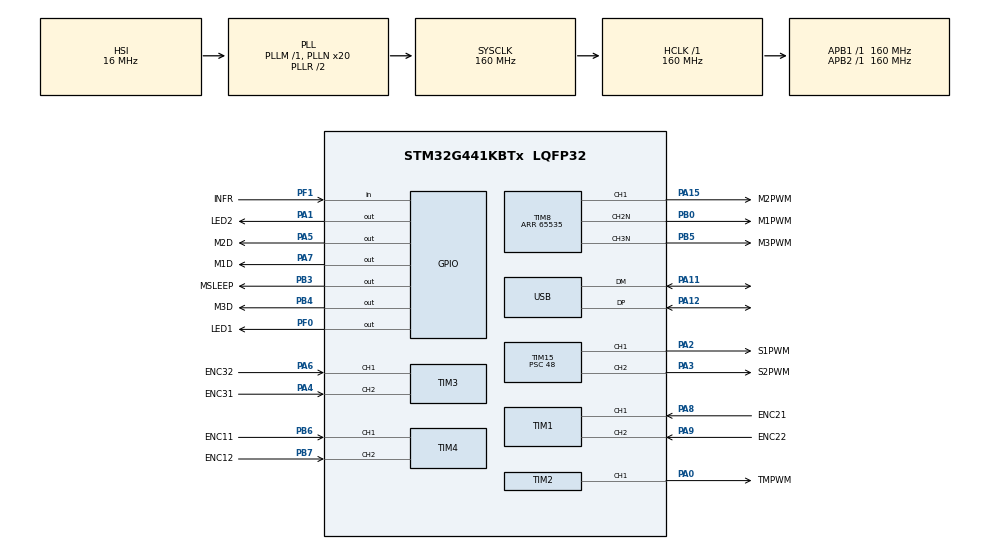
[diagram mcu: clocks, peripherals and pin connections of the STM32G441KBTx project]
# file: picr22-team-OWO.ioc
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Mcu.Family=STM32G4
Mcu.Name=STM32G441KBTx
Mcu.Package=LQFP32
NVIC.PriorityGroup=NVIC_PRIORITYGROUP_4
NVIC.TIM6_DAC_IRQn=true\:0\:0\:false\:false\:true\:true\:true\:true
NVIC.USB_LP_IRQn=true\:0\:0\:false\:false\:true\:false\:true\:true
PA0.GPIO_Label=TMPWM
PA0.Signal=S_TIM2_CH1
PA1.GPIO_Label=LED2
PA1.Signal=GPIO_Output
PA11.Mode=Device
PA11.Signal=USB_DM
PA12.Mode=Device
PA12.Signal=USB_DP
PA13.Mode=Serial_Wire
PA13.Signal=SYS_JTMS-SWDIO
PA14.Mode=Serial_Wire
PA14.Signal=SYS_JTCK-SWCLK
PA15.GPIO_Label=M2PWM
PA15.Signal=S_TIM8_CH1
PA2.GPIO_Label=S1PWM
PA2.Signal=S_TIM15_CH1
PA3.GPIO_Label=S2PWM
PA3.Signal=S_TIM15_CH2
PA4.GPIO_Label=ENC31
PA4.Signal=S_TIM3_CH2
PA5.GPIO_Label=M2D
PA5.Signal=GPIO_Output
PA6.GPIO_Label=ENC32
PA6.Signal=S_TIM3_CH1
PA7.GPIO_Label=M1D
PA7.Signal=GPIO_Output
PA8.GPIO_Label=ENC21
PA8.Signal=S_TIM1_CH1
PA9.GPIO_Label=ENC22
PA9.Signal=S_TIM1_CH2
PB0.GPIO_Label=M1PWM
PB0.Mode=PWM Generation2 CH2N
PB0.Signal=TIM8_CH2N
PB3.GPIO_Label=MSLEEP
PB3.Signal=GPIO_Output
PB4.GPIO_Label=M3D
PB4.Signal=GPIO_Output
PB5.GPIO_Label=M3PWM
PB5.Mode=PWM Generation3 CH3N
PB5.Signal=TIM8_CH3N
PB6.GPIO_Label=ENC11
PB6.Signal=S_TIM4_CH1
PB7.GPIO_Label=ENC12
PB7.Signal=S_TIM4_CH2
PF0-OSC_IN.GPIO_Label=LED1
PF0-OSC_IN.Signal=GPIO_Output
PF1-OSC_OUT.GPIO_Label=INFR
PF1-OSC_OUT.Signal=GPIO_Input
ProjectManager.HeapSize=0x200
ProjectManager.StackSize=0x400
ProjectManager.TargetToolchain=STM32CubeIDE
RCC.ADC12Freq_Value=160000000
RCC.AHBFreq_Value=160000000
RCC.APB1Freq_Value=160000000
RCC.APB1TimFreq_Value=160000000
RCC.APB2Freq_Value=160000000
RCC.APB2TimFreq_Value=160000000
RCC.CK48CLockSelection=RCC_USBCLKSOURCE_HSI48
RCC.CortexFreq_Value=160000000
RCC.EXTERNAL_CLOCK_VALUE=12288000
RCC.HCLKFreq_Value=160000000
RCC.HSE_VALUE=8000000
RCC.HSI48_VALUE=48000000
RCC.HSI_VALUE=16000000
RCC.LSE_VALUE=32768
RCC.PLLN=20
RCC.SYSCLKFreq_VALUE=160000000
RCC.SYSCLKSource=RCC_SYSCLKSOURCE_PLLCLK
RCC.USBFreq_Value=48000000
RCC.VCOOutputFreq_Value=320000000
SH.S_TIM15_CH1.0=TIM15_CH1,PWM Generation1 CH1
SH.S_TIM15_CH2.0=TIM15_CH2,PWM Generation2 CH2
SH.S_TIM1_CH1.0=TIM1_CH1,Encoder_Interface
SH.S_TIM1_CH2.0=TIM1_CH2,Encoder_Interface
SH.S_TIM2_CH1.0=TIM2_CH1,PWM Generation1 CH1
SH.S_TIM3_CH1.0=TIM3_CH1,Encoder_Interface
SH.S_TIM3_CH2.0=TIM3_CH2,Encoder_Interface
SH.S_TIM4_CH1.0=TIM4_CH1,Encoder_Interface
SH.S_TIM4_CH2.0=TIM4_CH2,Encoder_Interface
SH.S_TIM8_CH1.0=TIM8_CH1,PWM Generation1 CH1
TIM1.EncoderMode=TIM_ENCODERMODE_TI12
TIM15.Channel-PWM\ Generation1\ CH1=TIM_CHANNEL_1
TIM15.Channel-PWM\ Generation2\ CH2=TIM_CHANNEL_2
TIM15.Prescaler=48
TIM2.Channel-PWM\ Generation1\ CH1=TIM_CHANNEL_1
TIM2.OCMode_PWM-PWM\ Generation1\ CH1=TIM_OCMODE_PWM1
TIM2.PeriodNoDither=65535 
TIM2.Prescaler=48
TIM3.CounterMode=TIM_COUNTERMODE_UP
TIM3.EncoderMode=TIM_ENCODERMODE_TI12
TIM4.CounterMode=TIM_COUNTERMODE_UP
TIM4.EncoderMode=TIM_ENCODERMODE_TI12
TIM4.IC1Polarity=TIM_ICPOLARITY_RISING
TIM4.IC2Polarity=TIM_ICPOLARITY_RISING
TIM6.Prescaler=47
TIM8.Channel-PWM\ Generation1\ CH1=TIM_CHANNEL_1
TIM8.Channel-PWM\ Generation2\ CH2N=TIM_CHANNEL_2
TIM8.Channel-PWM\ Generation3\ CH3N=TIM_CHANNEL_3
TIM8.PeriodNoDither=65535
USB_DEVICE.CLASS_NAME_FS=CDC
USB_DEVICE.VirtualMode=Cdc
USB_DEVICE.VirtualModeFS=Cdc_FS
VP_TIM6_VS_ClockSourceINT.Mode=Enable_Timer
VP_USB_DEVICE_VS_USB_DEVICE_CDC_FS.Mode=CDC_FS
board=custom

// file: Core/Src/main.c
/* USER CODE BEGIN Header */
/**
  ******************************************************************************
  * @file           : main.c
  * @brief          : Main program body
  ******************************************************************************
  * @attention
  *
  * Copyright (c) 2022 STMicroelectronics.
  * All rights reserved.
  *
  * This software is licensed under terms that can be found in the LICENSE file
  * in the root directory of this software component.
  * If no LICENSE file comes with this software, it is provided AS-IS.
  *
  ******************************************************************************
  */
/* USER CODE END Header */
#include "main.h"
#include "usb_device.h"

/* USER CODE BEGIN Includes */
#include "usbd_cdc_if.h" // (1)
/* USER CODE END Includes */

TIM_HandleTypeDef htim1;
TIM_HandleTypeDef htim2;
TIM_HandleTypeDef htim3;
TIM_HandleTypeDef htim4;
TIM_HandleTypeDef htim6;
TIM_HandleTypeDef htim8;
TIM_HandleTypeDef htim15;

void SystemClock_Config(void);
static void MX_GPIO_Init(void);
static void MX_TIM2_Init(void);
static void MX_TIM3_Init(void);
static void MX_TIM1_Init(void);
static void MX_TIM4_Init(void);
static void MX_TIM8_Init(void);
static void MX_TIM15_Init(void);
static void MX_TIM6_Init(void);

/* USER CODE BEGIN 0 */
typedef struct Motor_Status {
	uint16_t target_speed; // in encoder units
	uint8_t direction; // 1 = forward, 0 = backward
	int16_t enc_pos; // current encoder position
	int16_t enc_change; // Change of the encoder, currently used for debugging purposes
	int16_t integral; // PID stuff borrowed from kurgimopeed
	int16_t flat_const;
	int16_t int_const;
	int16_t der_const;
	int16_t error;
} Motor_Status;

typedef struct Command {
  int16_t speed[3]; // array of all of the motor speeds, CURRENTLY int16_t DUE TO TESTING WITH RAW MOTOR VALUES, MOVE BACK TO int8_t
  uint16_t thrower_speed; // thrower motor speed
  uint16_t servo1;
  uint16_t servo2;
  int16_t int_const;
  int16_t flat_const;
  int16_t der_const;
  uint16_t delimiter;
} Command;

typedef struct Feedback {
  int16_t speed[3];
  int16_t change[3];
  int16_t error[3];
  int16_t integral[3];
  uint16_t ball_detected;
} Feedback;

// Motor structs for all 3 motors
Motor_Status motor_status[3] = {0};

// Prefilled command struct
Command command = {.speed[0] = 0,
				   .speed[1] = 0,
				   .speed[2] = 0,
				   .thrower_speed = 3277,
				   .servo1 = 4875,
				   .servo2 = 6150,
				   .flat_const = 1,
				   .int_const = 0.1,
				   .delimiter = 0};

volatile uint8_t isCommandReceived = 0;
volatile uint16_t commandless_count = 0;

uint16_t clamp_u16(uint16_t value, uint16_t min, uint16_t max) {
	if (value > max) {return max;}
	else if (value < min) {return min;}
	return value;
}

int16_t clamp_16(int16_t value, int16_t min, int16_t max) {
	if (value > max) {return max;}
	else if (value < min) {return min;}
	return value;
}

int32_t clamp_32(int32_t value, int32_t min, int32_t max) {
	if (value > max) {return max;}
	else if (value < min) {return min;}
	return value;
}

// Copies the recieved command into the command struct
void CDC_On_Receive(uint8_t* buffer, uint32_t* length) { // command recieve callback, copies data to command struct
  if (*length == sizeof(Command)) {
    memcpy(&command, buffer, sizeof(Command));
    if (command.delimiter == 0xAAAA) {
      isCommandReceived = 1;
      commandless_count = 0;
    }
  }
}

// Initialises the encoders
void enc_init() {
	HAL_TIM_Encoder_Start(&htim4, TIM_CHANNEL_1 | TIM_CHANNEL_2); // Motor 1 ?
	HAL_TIM_Encoder_Start(&htim1, TIM_CHANNEL_1 | TIM_CHANNEL_2); // Motor 2
	HAL_TIM_Encoder_Start(&htim3, TIM_CHANNEL_1 | TIM_CHANNEL_2); // Motor 3 ?
}

// Initialises the PWMs
void pwm_init() {
	TIM8->CCR2 = 0;
	TIM8->CCR1 = 0;
	TIM8->CCR3 = 0;

	TIM2->CCR1 = 4915;

	TIM15->CCR1 = 4875;
	TIM15->CCR2 = 6150;

    HAL_TIM_PWM_Start(&htim8, TIM_CHANNEL_1);
    HAL_TIMEx_PWMN_Start(&htim8, TIM_CHANNEL_2);
    HAL_TIMEx_PWMN_Start(&htim8, TIM_CHANNEL_3);

    HAL_TIM_PWM_Start(&htim2, TIM_CHANNEL_1);

    HAL_TIM_PWM_Start(&htim15, TIM_CHANNEL_1);
    HAL_TIM_PWM_Start(&htim15, TIM_CHANNEL_2);
}

// Updates the motor's speed, direction and PI constants from the command struct
void motor_status_update() {
	for (uint8_t i = 0; i<3; i++) {
		motor_status[i].target_speed = command.speed[i];
		motor_status[i].flat_const = command.flat_const;
		motor_status[i].int_const = command.int_const;
		motor_status[i].der_const = command.der_const;
	}
}

// Converts internal encoder speed to a PWM value
uint16_t motor_pwm(uint8_t m_id) {
    // For ease of use
    Motor_Status m =  motor_status[m_id];

    // Get new position of the encoder, currently a bit hacky due to motors 1 and 3 flipping the enc movement for some reason
	uint16_t new_pos = 0;
	int16_t pos_change = 0;
    switch (m_id) {
		case 0:
			new_pos = TIM3->CNT;
			pos_change = -((int16_t)new_pos - m.enc_pos);
			break;
		case 1:
			new_pos = TIM1->CNT;
			pos_change = (int16_t)new_pos - m.enc_pos;
			break;
		case 2:
			new_pos = TIM4->CNT;
			pos_change = -(((int16_t)new_pos) - m.enc_pos);
			break;
	}

	// Clear PI-s integral value when the bot is ordered to stop, might cause issues down the line
	if (motor_status[0].target_speed == 0 && motor_status[1].target_speed == 0 && motor_status[2].target_speed == 0) {
		m.integral = 0;
	}

	m.error = m.target_speed - pos_change;
	m.integral = clamp_16(m.integral + m.error, -4096, 4096);

	int32_t pwm = ((int32_t) m.error * (int32_t) m.flat_const) +
                  ((int32_t) m.integral * (int32_t) m.int_const) +
                  ((int32_t) (pos_change - m.enc_change) * (int32_t) m.der_const);

	if (pwm < 0) {m.direction = 0;}
	else {m.direction = 1;}

    m.enc_pos = new_pos;
	m.enc_change = pos_change;
	motor_status[m_id] = m;

	pwm = clamp_32(abs(pwm), 0, 65534);

	return (uint16_t) pwm;
}

// Toggles the direction pin
void motor_direction(uint8_t mot_id) {
	switch(mot_id) {
		case 0:
			HAL_GPIO_WritePin(GPIOA, M1D_Pin, motor_status[0].direction);
			break;
		case 1:
			HAL_GPIO_WritePin(GPIOA, M2D_Pin, motor_status[1].direction);
			break;
		case 2:
			HAL_GPIO_WritePin(GPIOB, M3D_Pin, motor_status[2].direction);
			break;
	}
}

// Sends a very short ground pulse to the sleep pin of the motor controllers
void wake_drivers_up() {
	HAL_GPIO_WritePin(GPIOB, MSLEEP_Pin, GPIO_PIN_SET);
	for(uint16_t i = 0; i < 350; i++) __asm("nop");
	HAL_GPIO_WritePin(GPIOB, MSLEEP_Pin, GPIO_PIN_RESET);
	for(uint16_t i = 0; i < 350; i++) __asm("nop");
	HAL_GPIO_WritePin(GPIOB, MSLEEP_Pin, GPIO_PIN_SET);
}
// Currently abandoned.

// 50 Hz callback
void HAL_TIM_PeriodElapsedCallback(TIM_HandleTypeDef *htim) {
	if (commandless_count >= 50) { // Helps prevent major consequences from minor fuckups
		TIM8->CCR2 = 0;
		TIM8->CCR2 = 0;
		TIM8->CCR2 = 0;
		TIM2->CCR1 = 3277;
		TIM15->CCR1 = 4875;
		return;
	}

	TIM8->CCR2 = motor_pwm(0); // Motor 1
	TIM8->CCR1 = motor_pwm(1); // Motor 2
	TIM8->CCR3 = motor_pwm(2); // Motor 3

	motor_direction(0); // Motor 1
	motor_direction(1); // Motor 2
	motor_direction(2); // Motor 3

	TIM2->CCR1 = clamp_u16(command.thrower_speed, 3277, 6554);

	TIM15->CCR1 = clamp_u16(command.servo1, 3277, 6554);
	TIM15->CCR2 = clamp_u16(command.servo2, 4700, 6150);

	commandless_count++;
}
/* USER CODE END 0 */

int main(void)
{

  /* MCU Configuration--------------------------------------------------------*/

  /* Reset of all peripherals, Initializes the Flash interface and the Systick. */
  HAL_Init();

  /* Configure the system clock */
  SystemClock_Config();

  /* Initialize all configured peripherals */
  MX_GPIO_Init();
  MX_TIM2_Init();
  MX_TIM3_Init();
  MX_TIM1_Init();
  MX_TIM4_Init();
  MX_TIM8_Init();
  MX_TIM15_Init();
  MX_TIM6_Init();
  MX_USB_Device_Init();
  /* USER CODE BEGIN 2 */
  Feedback feedback = {
	    .speed[0] = 0,
	    .speed[1] = 0,
	    .speed[2] = 0,
		.change[0] = 0,
		.change[1] = 0,
		.change[2] = 0,
		.ball_detected = 0,
  };
  HAL_TIM_Base_Start_IT(&htim6);
  HAL_Delay(100);
  enc_init();
  pwm_init();
  wake_drivers_up();

  /* USER CODE END 2 */

  /* Infinite loop */
  /* USER CODE BEGIN WHILE */
  while (1)
  {
    if (isCommandReceived) {
    	isCommandReceived = 0;

    	wake_drivers_up();
    	motor_status_update();

    	for (int i = 0; i < 3; i++) {
			feedback.speed[i] = motor_status[i].target_speed;
			feedback.change[i] = motor_status[i].enc_change;
			feedback.error[i] = motor_status[i].error;
			feedback.integral[i] = motor_status[i].integral;
    	}
		feedback.ball_detected = HAL_GPIO_ReadPin (INFR_GPIO_Port, INFR_Pin);

		CDC_Transmit_FS(&feedback, sizeof(feedback));
	}
    /* USER CODE END WHILE */

  }
}

void SystemClock_Config(void)
{
  RCC_OscInitTypeDef RCC_OscInitStruct = {0};
  RCC_ClkInitTypeDef RCC_ClkInitStruct = {0};

  /** Configure the main internal regulator output voltage
  */
  HAL_PWREx_ControlVoltageScaling(PWR_REGULATOR_VOLTAGE_SCALE1_BOOST);

  /** Initializes the RCC Oscillators according to the specified parameters
  * in the RCC_OscInitTypeDef structure.
  */
  RCC_OscInitStruct.OscillatorType = RCC_OSCILLATORTYPE_HSI|RCC_OSCILLATORTYPE_HSI48;
  RCC_OscInitStruct.HSIState = RCC_HSI_ON;
  RCC_OscInitStruct.HSICalibrationValue = RCC_HSICALIBRATION_DEFAULT;
  RCC_OscInitStruct.HSI48State = RCC_HSI48_ON;
  RCC_OscInitStruct.PLL.PLLState = RCC_PLL_ON;
  RCC_OscInitStruct.PLL.PLLSource = RCC_PLLSOURCE_HSI;
  RCC_OscInitStruct.PLL.PLLM = RCC_PLLM_DIV1;
  RCC_OscInitStruct.PLL.PLLN = 20;
  RCC_OscInitStruct.PLL.PLLP = RCC_PLLP_DIV2;
  RCC_OscInitStruct.PLL.PLLQ = RCC_PLLQ_DIV2;
  RCC_OscInitStruct.PLL.PLLR = RCC_PLLR_DIV2;
  if (HAL_RCC_OscConfig(&RCC_OscInitStruct) != HAL_OK)
  {
    Error_Handler();
  }

  /** Initializes the CPU, AHB and APB buses clocks
  */
  RCC_ClkInitStruct.ClockType = RCC_CLOCKTYPE_HCLK|RCC_CLOCKTYPE_SYSCLK
                              |RCC_CLOCKTYPE_PCLK1|RCC_CLOCKTYPE_PCLK2;
  RCC_ClkInitStruct.SYSCLKSource = RCC_SYSCLKSOURCE_PLLCLK;
  RCC_ClkInitStruct.AHBCLKDivider = RCC_SYSCLK_DIV1;
  RCC_ClkInitStruct.APB1CLKDivider = RCC_HCLK_DIV1;
  RCC_ClkInitStruct.APB2CLKDivider = RCC_HCLK_DIV1;

  if (HAL_RCC_ClockConfig(&RCC_ClkInitStruct, FLASH_LATENCY_4) != HAL_OK)
  {
    Error_Handler();
  }
}

static void MX_TIM1_Init(void)
{

  TIM_Encoder_InitTypeDef sConfig = {0};
  TIM_MasterConfigTypeDef sMasterConfig = {0};

  htim1.Instance = TIM1;
  htim1.Init.Prescaler = 0;
  htim1.Init.CounterMode = TIM_COUNTERMODE_UP;
  htim1.Init.Period = 65535;
  htim1.Init.ClockDivision = TIM_CLOCKDIVISION_DIV1;
  htim1.Init.RepetitionCounter = 0;
  htim1.Init.AutoReloadPreload = TIM_AUTORELOAD_PRELOAD_DISABLE;
  sConfig.EncoderMode = TIM_ENCODERMODE_TI12;
  sConfig.IC1Polarity = TIM_ICPOLARITY_RISING;
  sConfig.IC1Selection = TIM_ICSELECTION_DIRECTTI;
  sConfig.IC1Prescaler = TIM_ICPSC_DIV1;
  sConfig.IC1Filter = 0;
  sConfig.IC2Polarity = TIM_ICPOLARITY_RISING;
  sConfig.IC2Selection = TIM_ICSELECTION_DIRECTTI;
  sConfig.IC2Prescaler = TIM_ICPSC_DIV1;
  sConfig.IC2Filter = 0;
  if (HAL_TIM_Encoder_Init(&htim1, &sConfig) != HAL_OK)
  {
    Error_Handler();
  }
  sMasterConfig.MasterOutputTrigger = TIM_TRGO_RESET;
  sMasterConfig.MasterOutputTrigger2 = TIM_TRGO2_RESET;
  sMasterConfig.MasterSlaveMode = TIM_MASTERSLAVEMODE_DISABLE;
  if (HAL_TIMEx_MasterConfigSynchronization(&htim1, &sMasterConfig) != HAL_OK)
  {
    Error_Handler();
  }

}

static void MX_TIM2_Init(void)
{

  TIM_MasterConfigTypeDef sMasterConfig = {0};
  TIM_OC_InitTypeDef sConfigOC = {0};

  htim2.Instance = TIM2;
  htim2.Init.Prescaler = 48;
  htim2.Init.CounterMode = TIM_COUNTERMODE_UP;
  htim2.Init.Period = 65535;
  htim2.Init.ClockDivision = TIM_CLOCKDIVISION_DIV1;
  htim2.Init.AutoReloadPreload = TIM_AUTORELOAD_PRELOAD_DISABLE;
  if (HAL_TIM_PWM_Init(&htim2) != HAL_OK)
  {
    Error_Handler();
  }
  sMasterConfig.MasterOutputTrigger = TIM_TRGO_RESET;
  sMasterConfig.MasterSlaveMode = TIM_MASTERSLAVEMODE_DISABLE;
  if (HAL_TIMEx_MasterConfigSynchronization(&htim2, &sMasterConfig) != HAL_OK)
  {
    Error_Handler();
  }
  sConfigOC.OCMode = TIM_OCMODE_PWM1;
  sConfigOC.Pulse = 0;
  sConfigOC.OCPolarity = TIM_OCPOLARITY_HIGH;
  sConfigOC.OCFastMode = TIM_OCFAST_DISABLE;
  if (HAL_TIM_PWM_ConfigChannel(&htim2, &sConfigOC, TIM_CHANNEL_1) != HAL_OK)
  {
    Error_Handler();
  }
  HAL_TIM_MspPostInit(&htim2);

}

static void MX_TIM3_Init(void)
{

  TIM_Encoder_InitTypeDef sConfig = {0};
  TIM_MasterConfigTypeDef sMasterConfig = {0};

  htim3.Instance = TIM3;
  htim3.Init.Prescaler = 0;
  htim3.Init.CounterMode = TIM_COUNTERMODE_UP;
  htim3.Init.Period = 65535;
  htim3.Init.ClockDivision = TIM_CLOCKDIVISION_DIV1;
  htim3.Init.AutoReloadPreload = TIM_AUTORELOAD_PRELOAD_DISABLE;
  sConfig.EncoderMode = TIM_ENCODERMODE_TI12;
  sConfig.IC1Polarity = TIM_ICPOLARITY_RISING;
  sConfig.IC1Selection = TIM_ICSELECTION_DIRECTTI;
  sConfig.IC1Prescaler = TIM_ICPSC_DIV1;
  sConfig.IC1Filter = 0;
  sConfig.IC2Polarity = TIM_ICPOLARITY_RISING;
  sConfig.IC2Selection = TIM_ICSELECTION_DIRECTTI;
  sConfig.IC2Prescaler = TIM_ICPSC_DIV1;
  sConfig.IC2Filter = 0;
  if (HAL_TIM_Encoder_Init(&htim3, &sConfig) != HAL_OK)
  {
    Error_Handler();
  }
  sMasterConfig.MasterOutputTrigger = TIM_TRGO_RESET;
  sMasterConfig.MasterSlaveMode = TIM_MASTERSLAVEMODE_DISABLE;
  if (HAL_TIMEx_MasterConfigSynchronization(&htim3, &sMasterConfig) != HAL_OK)
  {
    Error_Handler();
  }

}

static void MX_TIM4_Init(void)
{

  TIM_Encoder_InitTypeDef sConfig = {0};
  TIM_MasterConfigTypeDef sMasterConfig = {0};

  htim4.Instance = TIM4;
  htim4.Init.Prescaler = 0;
  htim4.Init.CounterMode = TIM_COUNTERMODE_UP;
  htim4.Init.Period = 65535;
  htim4.Init.ClockDivision = TIM_CLOCKDIVISION_DIV1;
  htim4.Init.AutoReloadPreload = TIM_AUTORELOAD_PRELOAD_DISABLE;
  sConfig.EncoderMode = TIM_ENCODERMODE_TI12;
  sConfig.IC1Polarity = TIM_ICPOLARITY_RISING;
  sConfig.IC1Selection = TIM_ICSELECTION_DIRECTTI;
  sConfig.IC1Prescaler = TIM_ICPSC_DIV1;
  sConfig.IC1Filter = 0;
  sConfig.IC2Polarity = TIM_ICPOLARITY_RISING;
  sConfig.IC2Selection = TIM_ICSELECTION_DIRECTTI;
  sConfig.IC2Prescaler = TIM_ICPSC_DIV1;
  sConfig.IC2Filter = 0;
  if (HAL_TIM_Encoder_Init(&htim4, &sConfig) != HAL_OK)
  {
    Error_Handler();
  }
  sMasterConfig.MasterOutputTrigger = TIM_TRGO_RESET;
  sMasterConfig.MasterSlaveMode = TIM_MASTERSLAVEMODE_DISABLE;
  if (HAL_TIMEx_MasterConfigSynchronization(&htim4, &sMasterConfig) != HAL_OK)
  {
    Error_Handler();
  }

}

static void MX_TIM6_Init(void)
{

  TIM_MasterConfigTypeDef sMasterConfig = {0};

  htim6.Instance = TIM6;
  htim6.Init.Prescaler = 47;
  htim6.Init.CounterMode = TIM_COUNTERMODE_UP;
  htim6.Init.Period = 65535;
  htim6.Init.AutoReloadPreload = TIM_AUTORELOAD_PRELOAD_DISABLE;
  if (HAL_TIM_Base_Init(&htim6) != HAL_OK)
  {
    Error_Handler();
  }
  sMasterConfig.MasterOutputTrigger = TIM_TRGO_RESET;
  sMasterConfig.MasterSlaveMode = TIM_MASTERSLAVEMODE_DISABLE;
  if (HAL_TIMEx_MasterConfigSynchronization(&htim6, &sMasterConfig) != HAL_OK)
  {
    Error_Handler();
  }

}

static void MX_TIM8_Init(void)
{

  TIM_MasterConfigTypeDef sMasterConfig = {0};
  TIM_OC_InitTypeDef sConfigOC = {0};
  TIM_BreakDeadTimeConfigTypeDef sBreakDeadTimeConfig = {0};

  htim8.Instance = TIM8;
  htim8.Init.Prescaler = 0;
  htim8.Init.CounterMode = TIM_COUNTERMODE_UP;
  htim8.Init.Period = 65535;
  htim8.Init.ClockDivision = TIM_CLOCKDIVISION_DIV1;
  htim8.Init.RepetitionCounter = 0;
  htim8.Init.AutoReloadPreload = TIM_AUTORELOAD_PRELOAD_DISABLE;
  if (HAL_TIM_PWM_Init(&htim8) != HAL_OK)
  {
    Error_Handler();
  }
  sMasterConfig.MasterOutputTrigger = TIM_TRGO_RESET;
  sMasterConfig.MasterOutputTrigger2 = TIM_TRGO2_RESET;
  sMasterConfig.MasterSlaveMode = TIM_MASTERSLAVEMODE_DISABLE;
  if (HAL_TIMEx_MasterConfigSynchronization(&htim8, &sMasterConfig) != HAL_OK)
  {
    Error_Handler();
  }
  sConfigOC.OCMode = TIM_OCMODE_PWM1;
  sConfigOC.Pulse = 0;
  sConfigOC.OCPolarity = TIM_OCPOLARITY_HIGH;
  sConfigOC.OCNPolarity = TIM_OCNPOLARITY_HIGH;
  sConfigOC.OCFastMode = TIM_OCFAST_DISABLE;
  sConfigOC.OCIdleState = TIM_OCIDLESTATE_RESET;
  sConfigOC.OCNIdleState = TIM_OCNIDLESTATE_RESET;
  if (HAL_TIM_PWM_ConfigChannel(&htim8, &sConfigOC, TIM_CHANNEL_1) != HAL_OK)
  {
    Error_Handler();
  }
  if (HAL_TIM_PWM_ConfigChannel(&htim8, &sConfigOC, TIM_CHANNEL_2) != HAL_OK)
  {
    Error_Handler();
  }
  if (HAL_TIM_PWM_ConfigChannel(&htim8, &sConfigOC, TIM_CHANNEL_3) != HAL_OK)
  {
    Error_Handler();
  }
  sBreakDeadTimeConfig.OffStateRunMode = TIM_OSSR_DISABLE;
  sBreakDeadTimeConfig.OffStateIDLEMode = TIM_OSSI_DISABLE;
  sBreakDeadTimeConfig.LockLevel = TIM_LOCKLEVEL_OFF;
  sBreakDeadTimeConfig.DeadTime = 0;
  sBreakDeadTimeConfig.BreakState = TIM_BREAK_DISABLE;
  sBreakDeadTimeConfig.BreakPolarity = TIM_BREAKPOLARITY_HIGH;
  sBreakDeadTimeConfig.BreakFilter = 0;
  sBreakDeadTimeConfig.BreakAFMode = TIM_BREAK_AFMODE_INPUT;
  sBreakDeadTimeConfig.Break2State = TIM_BREAK2_DISABLE;
  sBreakDeadTimeConfig.Break2Polarity = TIM_BREAK2POLARITY_HIGH;
  sBreakDeadTimeConfig.Break2Filter = 0;
  sBreakDeadTimeConfig.Break2AFMode = TIM_BREAK_AFMODE_INPUT;
  sBreakDeadTimeConfig.AutomaticOutput = TIM_AUTOMATICOUTPUT_DISABLE;
  if (HAL_TIMEx_ConfigBreakDeadTime(&htim8, &sBreakDeadTimeConfig) != HAL_OK)
  {
    Error_Handler();
  }
  HAL_TIM_MspPostInit(&htim8);

}

static void MX_TIM15_Init(void)
{

  TIM_MasterConfigTypeDef sMasterConfig = {0};
  TIM_OC_InitTypeDef sConfigOC = {0};
  TIM_BreakDeadTimeConfigTypeDef sBreakDeadTimeConfig = {0};

  htim15.Instance = TIM15;
  htim15.Init.Prescaler = 48;
  htim15.Init.CounterMode = TIM_COUNTERMODE_UP;
  htim15.Init.Period = 65535;
  htim15.Init.ClockDivision = TIM_CLOCKDIVISION_DIV1;
  htim15.Init.RepetitionCounter = 0;
  htim15.Init.AutoReloadPreload = TIM_AUTORELOAD_PRELOAD_DISABLE;
  if (HAL_TIM_PWM_Init(&htim15) != HAL_OK)
  {
    Error_Handler();
  }
  sMasterConfig.MasterOutputTrigger = TIM_TRGO_RESET;
  sMasterConfig.MasterSlaveMode = TIM_MASTERSLAVEMODE_DISABLE;
  if (HAL_TIMEx_MasterConfigSynchronization(&htim15, &sMasterConfig) != HAL_OK)
  {
    Error_Handler();
  }
  sConfigOC.OCMode = TIM_OCMODE_PWM1;
  sConfigOC.Pulse = 0;
  sConfigOC.OCPolarity = TIM_OCPOLARITY_HIGH;
  sConfigOC.OCNPolarity = TIM_OCNPOLARITY_HIGH;
  sConfigOC.OCFastMode = TIM_OCFAST_DISABLE;
  sConfigOC.OCIdleState = TIM_OCIDLESTATE_RESET;
  sConfigOC.OCNIdleState = TIM_OCNIDLESTATE_RESET;
  if (HAL_TIM_PWM_ConfigChannel(&htim15, &sConfigOC, TIM_CHANNEL_1) != HAL_OK)
  {
    Error_Handler();
  }
  if (HAL_TIM_PWM_ConfigChannel(&htim15, &sConfigOC, TIM_CHANNEL_2) != HAL_OK)
  {
    Error_Handler();
  }
  sBreakDeadTimeConfig.OffStateRunMode = TIM_OSSR_DISABLE;
  sBreakDeadTimeConfig.OffStateIDLEMode = TIM_OSSI_DISABLE;
  sBreakDeadTimeConfig.LockLevel = TIM_LOCKLEVEL_OFF;
  sBreakDeadTimeConfig.DeadTime = 0;
  sBreakDeadTimeConfig.BreakState = TIM_BREAK_DISABLE;
  sBreakDeadTimeConfig.BreakPolarity = TIM_BREAKPOLARITY_HIGH;
  sBreakDeadTimeConfig.BreakFilter = 0;
  sBreakDeadTimeConfig.AutomaticOutput = TIM_AUTOMATICOUTPUT_DISABLE;
  if (HAL_TIMEx_ConfigBreakDeadTime(&htim15, &sBreakDeadTimeConfig) != HAL_OK)
  {
    Error_Handler();
  }
  HAL_TIM_MspPostInit(&htim15);

}

static void MX_GPIO_Init(void)
{
  GPIO_InitTypeDef GPIO_InitStruct = {0};

  /* GPIO Ports Clock Enable */
  __HAL_RCC_GPIOF_CLK_ENABLE();
  __HAL_RCC_GPIOA_CLK_ENABLE();
  __HAL_RCC_GPIOB_CLK_ENABLE();

  /*Configure GPIO pin Output Level */
  HAL_GPIO_WritePin(LED1_GPIO_Port, LED1_Pin, GPIO_PIN_RESET);

  /*Configure GPIO pin Output Level */
  HAL_GPIO_WritePin(GPIOA, LED2_Pin|M2D_Pin|M1D_Pin, GPIO_PIN_RESET);

  /*Configure GPIO pin Output Level */
  HAL_GPIO_WritePin(GPIOB, MSLEEP_Pin|M3D_Pin, GPIO_PIN_RESET);

  /*Configure GPIO pin : LED1_Pin */
  GPIO_InitStruct.Pin = LED1_Pin;
  GPIO_InitStruct.Mode = GPIO_MODE_OUTPUT_PP;
  GPIO_InitStruct.Pull = GPIO_NOPULL;
  GPIO_InitStruct.Speed = GPIO_SPEED_FREQ_LOW;
  HAL_GPIO_Init(LED1_GPIO_Port, &GPIO_InitStruct);

  /*Configure GPIO pin : INFR_Pin */
  GPIO_InitStruct.Pin = INFR_Pin;
  GPIO_InitStruct.Mode = GPIO_MODE_INPUT;
  GPIO_InitStruct.Pull = GPIO_NOPULL;
  HAL_GPIO_Init(INFR_GPIO_Port, &GPIO_InitStruct);

  /*Configure GPIO pins : LED2_Pin M2D_Pin M1D_Pin */
  GPIO_InitStruct.Pin = LED2_Pin|M2D_Pin|M1D_Pin;
  GPIO_InitStruct.Mode = GPIO_MODE_OUTPUT_PP;
  GPIO_InitStruct.Pull = GPIO_NOPULL;
  GPIO_InitStruct.Speed = GPIO_SPEED_FREQ_LOW;
  HAL_GPIO_Init(GPIOA, &GPIO_InitStruct);

  /*Configure GPIO pins : MSLEEP_Pin M3D_Pin */
  GPIO_InitStruct.Pin = MSLEEP_Pin|M3D_Pin;
  GPIO_InitStruct.Mode = GPIO_MODE_OUTPUT_PP;
  GPIO_InitStruct.Pull = GPIO_NOPULL;
  GPIO_InitStruct.Speed = GPIO_SPEED_FREQ_LOW;
  HAL_GPIO_Init(GPIOB, &GPIO_InitStruct);

}

void Error_Handler(void)
{
  __disable_irq();
  while (1)
  {
  }
}
